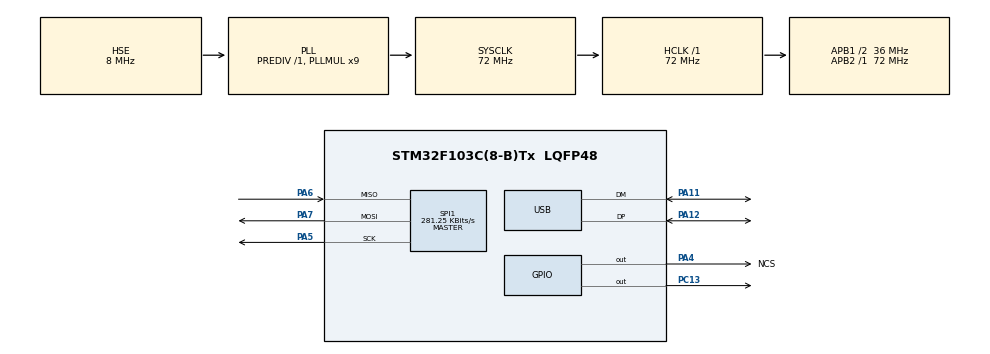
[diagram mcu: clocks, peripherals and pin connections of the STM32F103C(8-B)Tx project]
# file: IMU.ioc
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Mcu.Family=STM32F1
Mcu.Name=STM32F103C(8-B)Tx
Mcu.Package=LQFP48
NVIC.PriorityGroup=NVIC_PRIORITYGROUP_4
NVIC.TIM1_UP_IRQn=true\:0\:0\:false\:false\:true\:true\:true\:true
NVIC.TIM2_IRQn=true\:1\:0\:true\:false\:true\:true\:true\:true
NVIC.USB_LP_CAN1_RX0_IRQn=true\:0\:0\:false\:false\:true\:false\:true\:true
PA11.Mode=Device
PA11.Signal=USB_DM
PA12.Mode=Device
PA12.Signal=USB_DP
PA13.Mode=Serial_Wire
PA13.Signal=SYS_JTMS-SWDIO
PA14.Mode=Serial_Wire
PA14.Signal=SYS_JTCK-SWCLK
PA4.GPIO_Label=NCS
PA4.PinState=GPIO_PIN_SET
PA4.Signal=GPIO_Output
PA5.Mode=Full_Duplex_Master
PA5.Signal=SPI1_SCK
PA6.Mode=Full_Duplex_Master
PA6.Signal=SPI1_MISO
PA7.Mode=Full_Duplex_Master
PA7.Signal=SPI1_MOSI
PC13-TAMPER-RTC.PinState=GPIO_PIN_SET
PC13-TAMPER-RTC.Signal=GPIO_Output
PD0-OSC_IN.Mode=HSE-External-Oscillator
PD0-OSC_IN.Signal=RCC_OSC_IN
PD1-OSC_OUT.Mode=HSE-External-Oscillator
PD1-OSC_OUT.Signal=RCC_OSC_OUT
ProjectManager.HeapSize=0x200
ProjectManager.StackSize=0x400
ProjectManager.TargetToolchain=STM32CubeIDE
RCC.AHBFreq_Value=72000000
RCC.APB1CLKDivider=RCC_HCLK_DIV2
RCC.APB1Freq_Value=36000000
RCC.APB1TimFreq_Value=72000000
RCC.APB2Freq_Value=72000000
RCC.APB2TimFreq_Value=72000000
RCC.HCLKFreq_Value=72000000
RCC.PLLMUL=RCC_PLL_MUL9
RCC.PLLSourceVirtual=RCC_PLLSOURCE_HSE
RCC.SYSCLKFreq_VALUE=72000000
RCC.SYSCLKSource=RCC_SYSCLKSOURCE_PLLCLK
RCC.USBFreq_Value=48000000
RCC.USBPrescaler=RCC_USBCLKSOURCE_PLL_DIV1_5
SPI1.BaudRatePrescaler=SPI_BAUDRATEPRESCALER_256
SPI1.CLKPhase=SPI_PHASE_1EDGE
SPI1.CLKPolarity=SPI_POLARITY_LOW
SPI1.CalculateBaudRate=281.25 KBits/s
SPI1.Direction=SPI_DIRECTION_2LINES
SPI1.FirstBit=SPI_FIRSTBIT_MSB
SPI1.Mode=SPI_MODE_MASTER
SPI1.VirtualType=VM_MASTER
TIM1.Period=4000
TIM1.Prescaler=719
TIM2.Period=1600
TIM2.Prescaler=7199
USB_DEVICE.CLASS_NAME_FS=CDC
USB_DEVICE.USBD_MAX_STR_DESC_SIZ=65536
USB_DEVICE.USBD_SELF_POWERED=0
USB_DEVICE.VirtualMode=Cdc
USB_DEVICE.VirtualModeFS=Cdc_FS
VP_TIM1_VS_ClockSourceINT.Mode=Internal
VP_TIM2_VS_ClockSourceINT.Mode=Internal
VP_USB_DEVICE_VS_USB_DEVICE_CDC_FS.Mode=CDC_FS
board=custom

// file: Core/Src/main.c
/* USER CODE BEGIN Header */
/**
  ******************************************************************************
  * @file           : main.c
  * @brief          : Main program body
  ******************************************************************************
  * @attention
  *
  * Copyright (c) 2024 STMicroelectronics.
  * All rights reserved.
  *
  * This software is licensed under terms that can be found in the LICENSE file
  * in the root directory of this software component.
  * If no LICENSE file comes with this software, it is provided AS-IS.
  *
  ******************************************************************************
  */
/* USER CODE END Header */
#include "main.h"
#include "usb_device.h"

SPI_HandleTypeDef hspi1;

TIM_HandleTypeDef htim1;
TIM_HandleTypeDef htim2;

/* USER CODE BEGIN PV */

MPU mpu;

int16_t orient[8]={0,0,0,0,0,0,0,0};

uint8_t tx_data[] = { (ACCEL_XOUT_L-2) | READ,
                      (ACCEL_XOUT_H-2) | READ,
                      0x00 | READ,
                      (ACCEL_YOUT_L-2) | READ,
                      (ACCEL_YOUT_H-2) | READ,
                      0x00 | READ,
                      (ACCEL_ZOUT_L-2) | READ,
                      (ACCEL_ZOUT_H-2) | READ,
                      0x00 | READ,
                      (GYRO_XOUT_L-2) | READ,
                      (GYRO_XOUT_H-2) | READ,
                      0x00 | READ,
                      (GYRO_YOUT_L-2) | READ,
                      (GYRO_YOUT_H-2) | READ,
                      0x00 | READ,
                      (GYRO_ZOUT_L-2) | READ,
                      (GYRO_ZOUT_H-2) | READ,
                      0x00 | READ};

/* USER CODE END PV */

void SystemClock_Config(void);
static void MX_GPIO_Init(void);
static void MX_SPI1_Init(void);
static void MX_TIM1_Init(void);
static void MX_TIM2_Init(void);

int main(void)
{

  /* MCU Configuration--------------------------------------------------------*/

  /* Reset of all peripherals, Initializes the Flash interface and the Systick. */
  HAL_Init();

  /* Configure the system clock */
  SystemClock_Config();

  /* Initialize all configured peripherals */
  MX_GPIO_Init();
  MX_SPI1_Init();
  MX_TIM1_Init();
  MX_USB_DEVICE_Init();
  MX_TIM2_Init();
  /* USER CODE BEGIN 2 */

  if(init(&mpu, &hspi1, ACCEL_8G_FS, GYRO_2000_FS, DLPF_1, DLPF_1) == OK) HAL_GPIO_WritePin(GPIOC, GPIO_PIN_13, GPIO_PIN_RESET);

  HAL_TIM_Base_Start_IT(&htim1);
  HAL_TIM_Base_Start_IT(&htim2);

  /* USER CODE END 2 */

  /* Infinite loop */
  while (1)
  {

  }
}

void SystemClock_Config(void)
{
  RCC_OscInitTypeDef RCC_OscInitStruct = {0};
  RCC_ClkInitTypeDef RCC_ClkInitStruct = {0};
  RCC_PeriphCLKInitTypeDef PeriphClkInit = {0};

  /** Initializes the RCC Oscillators according to the specified parameters
  * in the RCC_OscInitTypeDef structure.
  */
  RCC_OscInitStruct.OscillatorType = RCC_OSCILLATORTYPE_HSE;
  RCC_OscInitStruct.HSEState = RCC_HSE_ON;
  RCC_OscInitStruct.HSEPredivValue = RCC_HSE_PREDIV_DIV1;
  RCC_OscInitStruct.HSIState = RCC_HSI_ON;
  RCC_OscInitStruct.PLL.PLLState = RCC_PLL_ON;
  RCC_OscInitStruct.PLL.PLLSource = RCC_PLLSOURCE_HSE;
  RCC_OscInitStruct.PLL.PLLMUL = RCC_PLL_MUL9;
  if (HAL_RCC_OscConfig(&RCC_OscInitStruct) != HAL_OK)
  {
    Error_Handler();
  }

  /** Initializes the CPU, AHB and APB buses clocks
  */
  RCC_ClkInitStruct.ClockType = RCC_CLOCKTYPE_HCLK|RCC_CLOCKTYPE_SYSCLK
                              |RCC_CLOCKTYPE_PCLK1|RCC_CLOCKTYPE_PCLK2;
  RCC_ClkInitStruct.SYSCLKSource = RCC_SYSCLKSOURCE_PLLCLK;
  RCC_ClkInitStruct.AHBCLKDivider = RCC_SYSCLK_DIV1;
  RCC_ClkInitStruct.APB1CLKDivider = RCC_HCLK_DIV2;
  RCC_ClkInitStruct.APB2CLKDivider = RCC_HCLK_DIV1;

  if (HAL_RCC_ClockConfig(&RCC_ClkInitStruct, FLASH_LATENCY_2) != HAL_OK)
  {
    Error_Handler();
  }
  PeriphClkInit.PeriphClockSelection = RCC_PERIPHCLK_USB;
  PeriphClkInit.UsbClockSelection = RCC_USBCLKSOURCE_PLL_DIV1_5;
  if (HAL_RCCEx_PeriphCLKConfig(&PeriphClkInit) != HAL_OK)
  {
    Error_Handler();
  }
}

static void MX_SPI1_Init(void)
{

  /* SPI1 parameter configuration*/
  hspi1.Instance = SPI1;
  hspi1.Init.Mode = SPI_MODE_MASTER;
  hspi1.Init.Direction = SPI_DIRECTION_2LINES;
  hspi1.Init.DataSize = SPI_DATASIZE_8BIT;
  hspi1.Init.CLKPolarity = SPI_POLARITY_LOW;
  hspi1.Init.CLKPhase = SPI_PHASE_1EDGE;
  hspi1.Init.NSS = SPI_NSS_SOFT;
  hspi1.Init.BaudRatePrescaler = SPI_BAUDRATEPRESCALER_4;
  hspi1.Init.FirstBit = SPI_FIRSTBIT_MSB;
  hspi1.Init.TIMode = SPI_TIMODE_DISABLE;
  hspi1.Init.CRCCalculation = SPI_CRCCALCULATION_DISABLE;
  hspi1.Init.CRCPolynomial = 10;
  if (HAL_SPI_Init(&hspi1) != HAL_OK)
  {
    Error_Handler();
  }

}

static void MX_TIM1_Init(void)
{

  TIM_ClockConfigTypeDef sClockSourceConfig = {0};
  TIM_MasterConfigTypeDef sMasterConfig = {0};

  htim1.Instance = TIM1;
  htim1.Init.Prescaler = 719;
  htim1.Init.CounterMode = TIM_COUNTERMODE_UP;
  htim1.Init.Period = 4000;
  htim1.Init.ClockDivision = TIM_CLOCKDIVISION_DIV1;
  htim1.Init.RepetitionCounter = 0;
  htim1.Init.AutoReloadPreload = TIM_AUTORELOAD_PRELOAD_DISABLE;
  if (HAL_TIM_Base_Init(&htim1) != HAL_OK)
  {
    Error_Handler();
  }
  sClockSourceConfig.ClockSource = TIM_CLOCKSOURCE_INTERNAL;
  if (HAL_TIM_ConfigClockSource(&htim1, &sClockSourceConfig) != HAL_OK)
  {
    Error_Handler();
  }
  sMasterConfig.MasterOutputTrigger = TIM_TRGO_RESET;
  sMasterConfig.MasterSlaveMode = TIM_MASTERSLAVEMODE_DISABLE;
  if (HAL_TIMEx_MasterConfigSynchronization(&htim1, &sMasterConfig) != HAL_OK)
  {
    Error_Handler();
  }

}

static void MX_TIM2_Init(void)
{

  TIM_ClockConfigTypeDef sClockSourceConfig = {0};
  TIM_MasterConfigTypeDef sMasterConfig = {0};

  htim2.Instance = TIM2;
  htim2.Init.Prescaler = 7199;
  htim2.Init.CounterMode = TIM_COUNTERMODE_UP;
  htim2.Init.Period = 1600;
  htim2.Init.ClockDivision = TIM_CLOCKDIVISION_DIV1;
  htim2.Init.AutoReloadPreload = TIM_AUTORELOAD_PRELOAD_DISABLE;
  if (HAL_TIM_Base_Init(&htim2) != HAL_OK)
  {
    Error_Handler();
  }
  sClockSourceConfig.ClockSource = TIM_CLOCKSOURCE_INTERNAL;
  if (HAL_TIM_ConfigClockSource(&htim2, &sClockSourceConfig) != HAL_OK)
  {
    Error_Handler();
  }
  sMasterConfig.MasterOutputTrigger = TIM_TRGO_RESET;
  sMasterConfig.MasterSlaveMode = TIM_MASTERSLAVEMODE_DISABLE;
  if (HAL_TIMEx_MasterConfigSynchronization(&htim2, &sMasterConfig) != HAL_OK)
  {
    Error_Handler();
  }

}

static void MX_GPIO_Init(void)
{
  GPIO_InitTypeDef GPIO_InitStruct = {0};

  /* GPIO Ports Clock Enable */
  __HAL_RCC_GPIOC_CLK_ENABLE();
  __HAL_RCC_GPIOD_CLK_ENABLE();
  __HAL_RCC_GPIOA_CLK_ENABLE();

  /*Configure GPIO pin Output Level */
  HAL_GPIO_WritePin(GPIOC, GPIO_PIN_13, GPIO_PIN_SET);

  /*Configure GPIO pin Output Level */
  HAL_GPIO_WritePin(NCS_GPIO_Port, NCS_Pin, GPIO_PIN_SET);

  /*Configure GPIO pin : PC13 */
  GPIO_InitStruct.Pin = GPIO_PIN_13;
  GPIO_InitStruct.Mode = GPIO_MODE_OUTPUT_PP;
  GPIO_InitStruct.Pull = GPIO_NOPULL;
  GPIO_InitStruct.Speed = GPIO_SPEED_FREQ_LOW;
  HAL_GPIO_Init(GPIOC, &GPIO_InitStruct);

  /*Configure GPIO pin : NCS_Pin */
  GPIO_InitStruct.Pin = NCS_Pin;
  GPIO_InitStruct.Mode = GPIO_MODE_OUTPUT_PP;
  GPIO_InitStruct.Pull = GPIO_NOPULL;
  GPIO_InitStruct.Speed = GPIO_SPEED_FREQ_LOW;
  HAL_GPIO_Init(NCS_GPIO_Port, &GPIO_InitStruct);

}

/* USER CODE BEGIN 4 */

void HAL_TIM_PeriodElapsedCallback(TIM_HandleTypeDef *htim)
{
  if(htim->Instance == TIM1) //check if the interrupt comes from TIM1
  {
    double dt = 1.0 / 5000.0;

    int16_t rx_data[12];
    for(int j = 0; j < 6; ++j){
      HAL_GPIO_WritePin(NCS_GPIO_Port, NCS_Pin, GPIO_PIN_RESET);
      HAL_SPI_TransmitReceive(mpu.port, tx_data + j*3, (int8_t *) rx_data + j*4 + 1, 3, 500);
      HAL_GPIO_WritePin(NCS_GPIO_Port, NCS_Pin, GPIO_PIN_SET);
    }

    orient[0] = rx_data[1];
    orient[1] = rx_data[3];
    orient[2] = rx_data[5];
    orient[3] = rx_data[7];
    orient[4] = rx_data[9];
    orient[5] = rx_data[11];

    // len = sqrt(wx*wx + wy*wy + wz*wz);
    // if(len > 0.000001){
    //   a = len * dt;
    //   sina = sin(a/2);
    //   h = cos(a/2);
    //   i = wx / len * sina;
    //   j = wy / len * sina;
    //   k = wz / len * sina;
    //
    //   orient[4] = orient[0] * h - orient[1] * i - orient[2] * j - orient[3] * k;
    //   orient[5] = orient[0] * i + orient[1] * h + orient[2] * k - orient[3] * j;
    //   orient[6] = orient[0] * j - orient[1] * k + orient[2] * h + orient[3] * i;
    //   orient[7] = orient[0] * k + orient[1] * j - orient[2] * i + orient[3] * h;
    //
    //   len = sqrt(orient[4]*orient[4] + orient[5]*orient[5] + orient[6]*orient[6] + orient[7]*orient[7]);
    //
    //   orient[4] /= len;
    //   orient[5] /= len;
    //   orient[6] /= len;
    //   orient[7] /= len;
    //
    //   orient[0] = orient[4];
    //   orient[1] = orient[5];
    //   orient[2] = orient[6];
    //   orient[3] = orient[7];
    // }
  }

  if(htim->Instance == TIM2){
    // orient[4] *= 10000.0;
    // orient[5] *= 10000.0;
    // orient[6] *= 10000.0;
    char tusb_data[90];
    sprintf(tusb_data, "%d  %d  %d  %d  %d  %d\n", orient[0], orient[1], orient[2], orient[3], orient[4], orient[5]);

    CDC_Transmit_FS(tusb_data, strlen(tusb_data));
  }
}

/* USER CODE END 4 */

void Error_Handler(void)
{
  __disable_irq();
  while (1)
  {
  }
}
